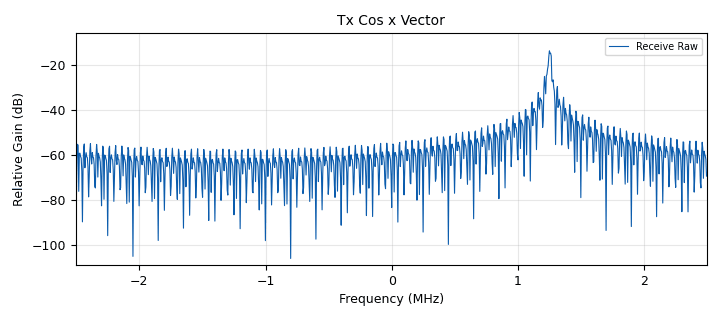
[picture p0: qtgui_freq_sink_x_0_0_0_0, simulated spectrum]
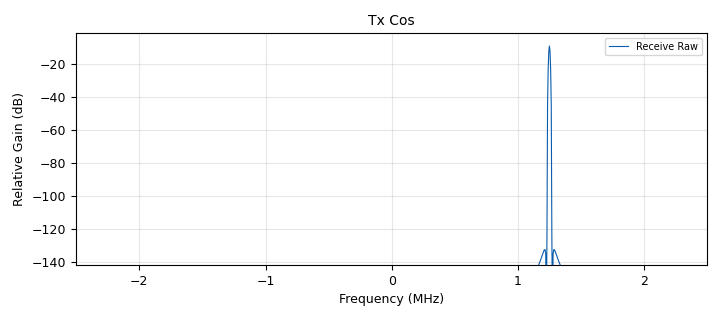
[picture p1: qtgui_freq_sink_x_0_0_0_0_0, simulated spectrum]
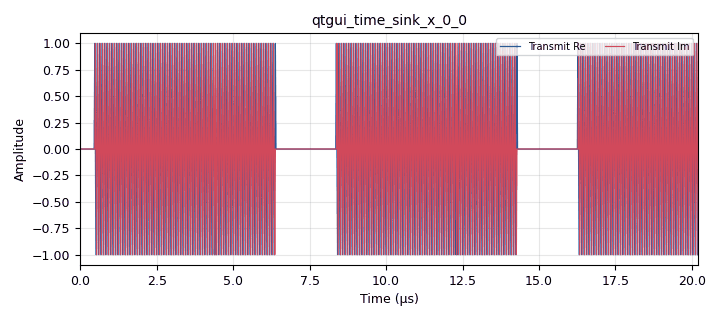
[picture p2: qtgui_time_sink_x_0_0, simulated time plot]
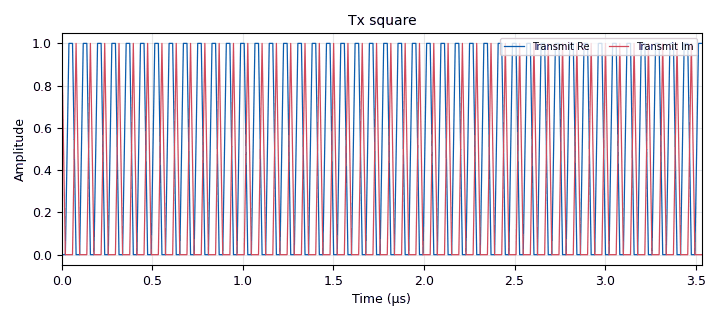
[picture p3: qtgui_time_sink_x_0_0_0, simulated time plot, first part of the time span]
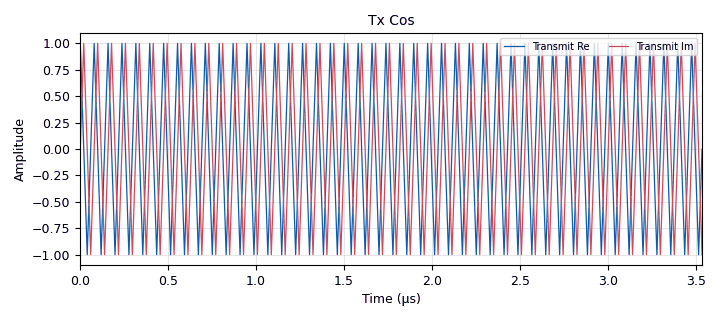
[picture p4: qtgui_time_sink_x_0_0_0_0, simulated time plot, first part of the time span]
options:
  parameters:
    author: mzemlo.pl@gmail.com
    copyright: Maciej Zemło
    generate_options: qt_gui
    id: dsp_tuto_001_bandpass_sampling
    output_language: python
    title: dsp tuto 001 bandpass sampling v02 ASK
  states: {}

blocks:
- name: B
  id: variable
  parameters:
    value: 5e6
  states: {}
- name: fc
  id: variable
  parameters:
    value: 3.8e9
  states: {}
- name: fs
  id: variable
  parameters:
    value: ((2*fc)-B)/m
  states: {}
- name: m
  id: variable
  parameters:
    value: '150'
  states: {}
- name: sps
  id: variable
  parameters:
    value: '64'
  states: {}
- name: tx_attenuation
  id: variable_qtgui_range
  parameters:
    start: '10'
    step: '5'
    stop: '70'
    value: '40'
  states: {}
- name: analog_sig_source_x_0
  id: analog_sig_source_x
  parameters:
    amp: '1'
    freq: '1'
    offset: '0'
    phase: '0'
    samp_rate: '4'
    type: complex
    waveform: analog.GR_COS_WAVE
  states: {}
- name: analog_sig_source_x_0_0
  id: analog_sig_source_x
  parameters:
    amp: '1'
    freq: '100'
    offset: '0'
    phase: '0'
    samp_rate: '400'
    type: complex
    waveform: analog.GR_SQR_WAVE
  states: {}
- name: blocks_multiply_xx_0
  id: blocks_multiply_xx
  parameters:
    type: complex
  states: {}
- name: blocks_repeat_0
  id: blocks_repeat
  parameters:
    interp: '100'
    type: complex
  states: {}
- name: blocks_vector_source_x_0
  id: blocks_vector_source_x
  parameters:
    repeat: 'True'
    type: complex
    vector: '[1/2, 1]'
  states: {state: disabled}
- name: iio_pluto_sink_0
  id: iio_pluto_sink
  parameters:
    attenuation1: '10.0'
    bandwidth: '20000000'
    buffer_size: '32768'
    cyclic: 'False'
    filter_source: '''Auto'''
    frequency: int(fc)
    samplerate: '65105'
    type: fc32
    uri: ip:192.168.2.1
  states: {state: disabled}
- name: iio_pluto_source_0
  id: iio_pluto_source
  parameters:
    bandwidth: '20000000'
    bbdc: 'True'
    buffer_size: '32768'
    filter_source: '''Auto'''
    frequency: int(fc)
    gain1: '''slow_attack'''
    quadrature: 'True'
    rfdc: 'True'
    samplerate: int(fs)
    type: fc32
    uri: ip:192.168.2.1
  states: {state: disabled}
- name: qtgui_freq_sink_x_0_0
  id: qtgui_freq_sink_x
  parameters:
    autoscale: 'True'
    bw: B
    fc: '0'
    fftsize: '1024'
    label1: Receive Raw
    type: complex
  states: {state: disabled}
- name: qtgui_freq_sink_x_0_0_0
  id: qtgui_freq_sink_x
  parameters:
    autoscale: 'True'
    bw: B
    fc: '0'
    fftsize: '1024'
    label1: Receive Raw
    type: complex
  states: {state: disabled}
- name: qtgui_freq_sink_x_0_0_0_0
  id: qtgui_freq_sink_x
  parameters:
    autoscale: 'True'
    bw: B
    fc: '0'
    fftsize: '1024'
    label1: Receive Raw
    name: '"Tx Cos x Vector"'
    type: complex
  states: {}
- name: qtgui_freq_sink_x_0_0_0_0_0
  id: qtgui_freq_sink_x
  parameters:
    autoscale: 'True'
    bw: B
    fc: '0'
    fftsize: '1024'
    label1: Receive Raw
    name: '"Tx Cos"'
    type: complex
  states: {}
- name: qtgui_time_sink_x_0
  id: qtgui_time_sink_x
  parameters:
    autoscale: 'True'
    label1: Transmit Re
    label2: Transmit Im
    size: '1024'
    srate: fs
    type: complex
  states: {state: disabled}
- name: qtgui_time_sink_x_0_0
  id: qtgui_time_sink_x
  parameters:
    autoscale: 'True'
    label1: Transmit Re
    label2: Transmit Im
    size: '1024'
    srate: fs
    type: complex
  states: {}
- name: qtgui_time_sink_x_0_0_0
  id: qtgui_time_sink_x
  parameters:
    autoscale: 'True'
    label1: Transmit Re
    label2: Transmit Im
    name: '"Tx square"'
    size: '1024'
    srate: fs
    type: complex
  states: {}
- name: qtgui_time_sink_x_0_0_0_0
  id: qtgui_time_sink_x
  parameters:
    autoscale: 'True'
    label1: Transmit Re
    label2: Transmit Im
    name: '"Tx Cos"'
    size: '1024'
    srate: fs
    type: complex
  states: {}

connections:
- [analog_sig_source_x_0, '0', blocks_multiply_xx_0, '1']
- [analog_sig_source_x_0, '0', qtgui_freq_sink_x_0_0_0_0_0, '0']
- [analog_sig_source_x_0, '0', qtgui_time_sink_x_0_0_0_0, '0']
- [analog_sig_source_x_0_0, '0', blocks_repeat_0, '0']
- [analog_sig_source_x_0_0, '0', qtgui_time_sink_x_0_0_0, '0']
- [blocks_multiply_xx_0, '0', qtgui_freq_sink_x_0_0_0_0, '0']
- [blocks_multiply_xx_0, '0', qtgui_time_sink_x_0_0, '0']
- [blocks_repeat_0, '0', blocks_multiply_xx_0, '0']
- [iio_pluto_source_0, '0', qtgui_freq_sink_x_0_0, '0']
- [iio_pluto_source_0, '0', qtgui_time_sink_x_0, '0']

metadata:
  file_format: 1
  grc_version: 3.10.9.2
